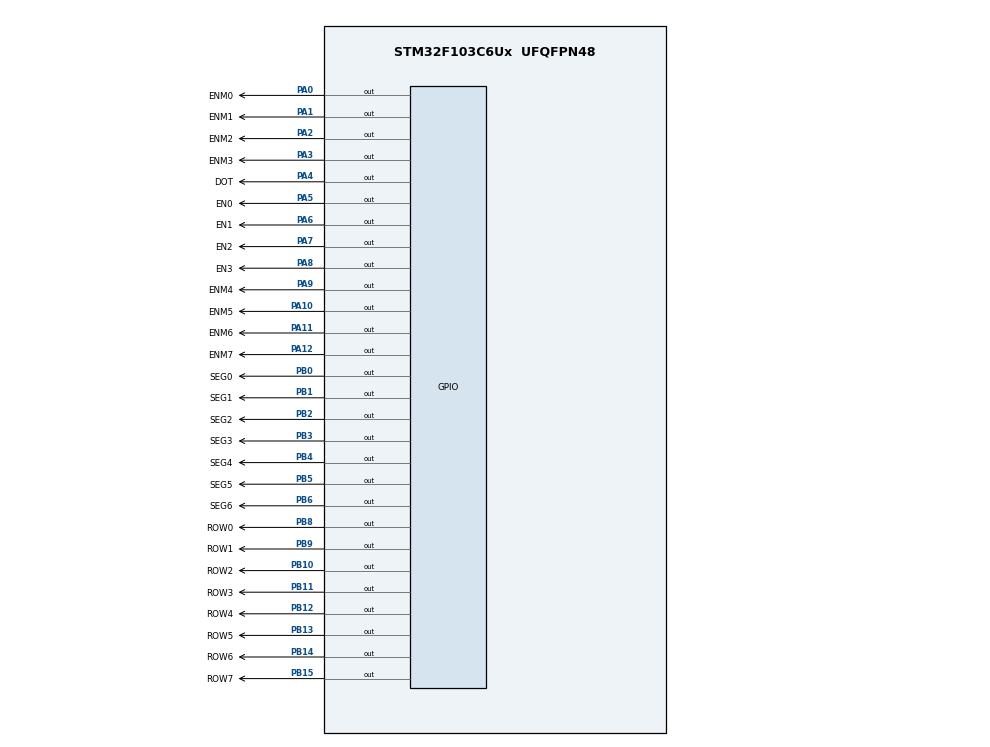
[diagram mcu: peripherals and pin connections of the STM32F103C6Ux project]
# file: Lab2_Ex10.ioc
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Mcu.Family=STM32F1
Mcu.Name=STM32F103C6Ux
Mcu.Package=UFQFPN48
NVIC.PriorityGroup=NVIC_PRIORITYGROUP_4
NVIC.TIM2_IRQn=true\:0\:0\:false\:false\:true\:true\:true
PA0-WKUP.GPIO_Label=ENM0
PA0-WKUP.Signal=GPIO_Output
PA1.GPIO_Label=ENM1
PA1.Signal=GPIO_Output
PA10.GPIO_Label=ENM5
PA10.Signal=GPIO_Output
PA11.GPIO_Label=ENM6
PA11.Signal=GPIO_Output
PA12.GPIO_Label=ENM7
PA12.Signal=GPIO_Output
PA2.GPIO_Label=ENM2
PA2.Signal=GPIO_Output
PA3.GPIO_Label=ENM3
PA3.Signal=GPIO_Output
PA4.GPIO_Label=DOT
PA4.Signal=GPIO_Output
PA5.GPIO_Label=EN0
PA5.Signal=GPIO_Output
PA6.GPIO_Label=EN1
PA6.Signal=GPIO_Output
PA7.GPIO_Label=EN2
PA7.Signal=GPIO_Output
PA8.GPIO_Label=EN3
PA8.Signal=GPIO_Output
PA9.GPIO_Label=ENM4
PA9.Signal=GPIO_Output
PB0.GPIO_Label=SEG0
PB0.Signal=GPIO_Output
PB1.GPIO_Label=SEG1
PB1.Signal=GPIO_Output
PB10.GPIO_Label=ROW2
PB10.Signal=GPIO_Output
PB11.GPIO_Label=ROW3
PB11.Signal=GPIO_Output
PB12.GPIO_Label=ROW4
PB12.Signal=GPIO_Output
PB13.GPIO_Label=ROW5
PB13.Signal=GPIO_Output
PB14.GPIO_Label=ROW6
PB14.Signal=GPIO_Output
PB15.GPIO_Label=ROW7
PB15.Signal=GPIO_Output
PB2.GPIO_Label=SEG2
PB2.Signal=GPIO_Output
PB3.GPIO_Label=SEG3
PB3.Signal=GPIO_Output
PB4.GPIO_Label=SEG4
PB4.Signal=GPIO_Output
PB5.GPIO_Label=SEG5
PB5.Signal=GPIO_Output
PB6.GPIO_Label=SEG6
PB6.Signal=GPIO_Output
PB8.GPIO_Label=ROW0
PB8.Signal=GPIO_Output
PB9.GPIO_Label=ROW1
PB9.Signal=GPIO_Output
ProjectManager.HeapSize=0x200
ProjectManager.StackSize=0x400
ProjectManager.TargetToolchain=STM32CubeIDE
RCC.APB1Freq_Value=8000000
RCC.APB2Freq_Value=8000000
TIM2.Period=9
TIM2.Prescaler=799
VP_SYS_VS_ND.Mode=No_Debug
VP_TIM2_VS_ClockSourceINT.Mode=Internal
board=custom

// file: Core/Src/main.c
/* USER CODE BEGIN Header */
/**
  ******************************************************************************
  * @file           : main.c
  * @brief          : Main program body
  ******************************************************************************
  * @attention
  *
  * <h2><center>&copy; Copyright (c) 2026 STMicroelectronics.
  * All rights reserved.</center></h2>
  *
  * This software component is licensed by ST under BSD 3-Clause license,
  * the "License"; You may not use this file except in compliance with the
  * License. You may obtain a copy of the License at:
  *                        opensource.org/licenses/BSD-3-Clause
  *
  ******************************************************************************
  */
/* USER CODE END Header */
#include "main.h"

TIM_HandleTypeDef htim2;

void SystemClock_Config(void);
static void MX_GPIO_Init(void);
static void MX_TIM2_Init(void);

/* USER CODE BEGIN 0 */

/* =========================================================
 * PHẦN �?IỀU KHIỂN LED 7 �?OẠN
 * ========================================================= */

/* Mã các số 0-9.
 * PB0-PB6 tương ứng với các đoạn A-G.
 * LED 7 đoạn common anode: mức LOW làm đoạn sáng.
 */
const uint16_t digitPattern[10] =
{
  0x3F, /* 0 */
  0x06, /* 1 */
  0x5B, /* 2 */
  0x4F, /* 3 */
  0x66, /* 4 */
  0x6D, /* 5 */
  0x7D, /* 6 */
  0x07, /* 7 */
  0x7F, /* 8 */
  0x6F  /* 9 */
};

void display7SEG(int num)
{
  /* Tắt toàn bộ các đoạn trước. */
  HAL_GPIO_WritePin(GPIOB,
                    SEG0_Pin | SEG1_Pin | SEG2_Pin |
                    SEG3_Pin | SEG4_Pin | SEG5_Pin |
                    SEG6_Pin,
                    GPIO_PIN_SET);

  if (num >= 0 && num <= 9)
  {
    /* Những bit bằng 1 trong digitPattern được kéo xuống LOW. */
    HAL_GPIO_WritePin(GPIOB,
                      digitPattern[num],
                      GPIO_PIN_RESET);
  }
}

/* Dữ liệu và vị trí quét bốn LED 7 đoạn. */
const int MAX_LED = 4;
int index_led = 0;
int led_buffer[4] = {1, 5, 0, 8};

/* Giá trị ban đầu của đồng hồ. */
int hour = 15;
int minute = 8;
int second = 50;

void update7SEG(int index)
{
  /* Tắt cả bốn LED trước khi đổi dữ liệu đoạn. */
  HAL_GPIO_WritePin(EN0_GPIO_Port, EN0_Pin, GPIO_PIN_SET);
  HAL_GPIO_WritePin(EN1_GPIO_Port, EN1_Pin, GPIO_PIN_SET);
  HAL_GPIO_WritePin(EN2_GPIO_Port, EN2_Pin, GPIO_PIN_SET);
  HAL_GPIO_WritePin(EN3_GPIO_Port, EN3_Pin, GPIO_PIN_SET);

  switch (index)
  {
    case 0:
      display7SEG(led_buffer[0]);
      HAL_GPIO_WritePin(EN0_GPIO_Port,
                        EN0_Pin,
                        GPIO_PIN_RESET);
      break;

    case 1:
      display7SEG(led_buffer[1]);
      HAL_GPIO_WritePin(EN1_GPIO_Port,
                        EN1_Pin,
                        GPIO_PIN_RESET);
      break;

    case 2:
      display7SEG(led_buffer[2]);
      HAL_GPIO_WritePin(EN2_GPIO_Port,
                        EN2_Pin,
                        GPIO_PIN_RESET);
      break;

    case 3:
      display7SEG(led_buffer[3]);
      HAL_GPIO_WritePin(EN3_GPIO_Port,
                        EN3_Pin,
                        GPIO_PIN_RESET);
      break;

    default:
      break;
  }
}

void updateClockBuffer(void)
{
  led_buffer[0] = hour / 10;
  led_buffer[1] = hour % 10;

  led_buffer[2] = minute / 10;
  led_buffer[3] = minute % 10;
}

/* =========================================================
 * PHẦN SOFTWARE TIMER
 * TIM2 tao ngat moi 1 ms.
 * ========================================================= */

const int TIMER_CYCLE = 1;

/* Timer 0: cập nhật đồng hồ mỗi 1000 ms. */
volatile int timer0_counter = 0;
volatile int timer0_flag = 0;

/* Timer 1: quét bốn LED 7 đoạn. */
volatile int timer1_counter = 0;
volatile int timer1_flag = 0;

/* Timer 2: quét tám cột LED Matrix. */
volatile int timer2_counter = 0;
volatile int timer2_flag = 0;

/* Timer 3: cap nhat chuyen dong cua chu tren Matrix. */
volatile int timer3_counter = 0;
volatile int timer3_flag = 0;

void setTimer0(int duration)
{
  timer0_counter = duration / TIMER_CYCLE;
  timer0_flag = 0;
}

void setTimer1(int duration)
{
  timer1_counter = duration / TIMER_CYCLE;
  timer1_flag = 0;
}

void setTimer2(int duration)
{
  timer2_counter = duration / TIMER_CYCLE;
  timer2_flag = 0;
}

void setTimer3(int duration)
{
  timer3_counter = duration / TIMER_CYCLE;
  timer3_flag = 0;
}

void timer_run(void)
{
  if (timer0_counter > 0)
  {
    timer0_counter--;

    if (timer0_counter == 0)
    {
      timer0_flag = 1;
    }
  }

  if (timer1_counter > 0)
  {
    timer1_counter--;

    if (timer1_counter == 0)
    {
      timer1_flag = 1;
    }
  }

  if (timer2_counter > 0)
  {
    timer2_counter--;

    if (timer2_counter == 0)
    {
      timer2_flag = 1;
    }
  }

  if (timer3_counter > 0)
  {
    timer3_counter--;

    if (timer3_counter == 0)
    {
      timer3_flag = 1;
    }
  }
}

/* =========================================================
 * PHẦN LED MATRIX 8x8
 * ========================================================= */

const int MAX_LED_MATRIX = 8;
int index_led_matrix = 0;

/* Dữ liệu tám cột để hiển thị chữ A.
 * Mỗi byte biểu diễn trạng thái ROW0-ROW7 của một cột.
 */
uint8_t matrix_buffer[8] =
{
  0x00,
  0x7E,
  0x11,
  0x11,
  0x11,
  0x7E,
  0x00,
  0x00
};

/* Chu A va cac cot trong tao thanh mot vung du lieu 16 cot.
 * Cua so matrix_buffer gom 8 cot se dich dan tren vung nay.
 */
const uint8_t matrix_animation[16] =
{
  0x00,
  0x7E,
  0x11,
  0x11,
  0x11,
  0x7E,
  0x00,
  0x00,
  0x00,
  0x00,
  0x00,
  0x00,
  0x00,
  0x00,
  0x00,
  0x00
};

int matrix_offset = 0;

void updateMatrixAnimation(void)
{
  int i;

  /* Lay 8 cot lien tiep. Tang offset lam chu dich sang trai. */
  for (i = 0; i < MAX_LED_MATRIX; i++)
  {
    matrix_buffer[i] =
        matrix_animation[(matrix_offset + i) % 16];
  }

  matrix_offset++;

  if (matrix_offset >= 16)
  {
    matrix_offset = 0;
  }
}

void updateLEDMatrix(int index)
{
  uint16_t rowData;

  /* Tat toan bo cot: ENMx HIGH lam ULN2803 keo COLx xuong LOW.
   * Voi MATRIX-8X8-RED trong Proteus, cot LOW la trang thai tat.
   */
  HAL_GPIO_WritePin(GPIOA,
                    ENM0_Pin | ENM1_Pin |
                    ENM2_Pin | ENM3_Pin |
                    ENM4_Pin | ENM5_Pin |
                    ENM6_Pin | ENM7_Pin,
                    GPIO_PIN_SET);

  /* Tat tat ca pixel: ROWx HIGH la trang thai tat. */
  HAL_GPIO_WritePin(GPIOB,
                    ROW0_Pin | ROW1_Pin |
                    ROW2_Pin | ROW3_Pin |
                    ROW4_Pin | ROW5_Pin |
                    ROW6_Pin | ROW7_Pin,
                    GPIO_PIN_SET);

  if (index < 0 || index >= MAX_LED_MATRIX)
  {
    return;
  }

  /* matrix_buffer dùng bit 0-7.
   * ROW0-ROW7 nối PB8-PB15 nên dịch trái 8 bit.
   */
  rowData = ((uint16_t)matrix_buffer[index]) << 8;

  /* Bit 1 trong matrix_buffer la pixel sang.
   * Pixel sang khi ROWx duoc keo xuong LOW.
   */
  HAL_GPIO_WritePin(GPIOB, rowData, GPIO_PIN_RESET);

  /* Kích hoạt một cột tương ứng. */
  switch (index)
  {
    case 0:
      HAL_GPIO_WritePin(ENM0_GPIO_Port,
                        ENM0_Pin,
                        GPIO_PIN_RESET);
      break;

    case 1:
      HAL_GPIO_WritePin(ENM1_GPIO_Port,
                        ENM1_Pin,
                        GPIO_PIN_RESET);
      break;

    case 2:
      HAL_GPIO_WritePin(ENM2_GPIO_Port,
                        ENM2_Pin,
                        GPIO_PIN_RESET);
      break;

    case 3:
      HAL_GPIO_WritePin(ENM3_GPIO_Port,
                        ENM3_Pin,
                        GPIO_PIN_RESET);
      break;

    case 4:
      HAL_GPIO_WritePin(ENM4_GPIO_Port,
                        ENM4_Pin,
                        GPIO_PIN_RESET);
      break;

    case 5:
      HAL_GPIO_WritePin(ENM5_GPIO_Port,
                        ENM5_Pin,
                        GPIO_PIN_RESET);
      break;

    case 6:
      HAL_GPIO_WritePin(ENM6_GPIO_Port,
                        ENM6_Pin,
                        GPIO_PIN_RESET);
      break;

    case 7:
      HAL_GPIO_WritePin(ENM7_GPIO_Port,
                        ENM7_Pin,
                        GPIO_PIN_RESET);
      break;

    default:
      break;
  }
}

/* USER CODE END 0 */

int main(void)
{

  /* MCU Configuration--------------------------------------------------------*/

  /* Reset of all peripherals, Initializes the Flash interface and the Systick. */
  HAL_Init();

  /* Configure the system clock */
  SystemClock_Config();

  /* Initialize all configured peripherals */
  MX_GPIO_Init();
  MX_TIM2_Init();
  /* USER CODE BEGIN 2 */

  /* Dua cac LED ve trang thai tat truoc khi bat dau quet. */
  HAL_GPIO_WritePin(GPIOA,
                    EN0_Pin | EN1_Pin | EN2_Pin | EN3_Pin,
                    GPIO_PIN_SET);
  HAL_GPIO_WritePin(GPIOB,
                    SEG0_Pin | SEG1_Pin | SEG2_Pin |
                    SEG3_Pin | SEG4_Pin | SEG5_Pin | SEG6_Pin,
                    GPIO_PIN_SET);

  HAL_GPIO_WritePin(GPIOA,
                    ENM0_Pin | ENM1_Pin | ENM2_Pin | ENM3_Pin |
                    ENM4_Pin | ENM5_Pin | ENM6_Pin | ENM7_Pin,
                    GPIO_PIN_SET);
  HAL_GPIO_WritePin(GPIOB,
                    ROW0_Pin | ROW1_Pin | ROW2_Pin | ROW3_Pin |
                    ROW4_Pin | ROW5_Pin | ROW6_Pin | ROW7_Pin,
                    GPIO_PIN_SET);

  updateClockBuffer();

  setTimer0(1000);
  setTimer1(5);
  setTimer2(2);
  setTimer3(200);

  /* Khởi động ngắt Timer 2. */
  HAL_TIM_Base_Start_IT(&htim2);

  /* USER CODE END 2 */

  /* Infinite loop */
  while (1)
  {

    /* USER CODE BEGIN 3 */

    /* Cap nhat thoi gian va DOT moi 1000 ms. */
	  if (timer0_flag == 1)
	  {
	    setTimer0(1000);

	    HAL_GPIO_TogglePin(DOT_GPIO_Port, DOT_Pin);

	    second++;

	    if (second >= 60)
	    {
	      second = 0;
	      minute++;
	    }

	    if (minute >= 60)
	    {
	      minute = 0;
	      hour++;
	    }

	    if (hour >= 24)
	    {
	      hour = 0;
	    }

	    updateClockBuffer();
	  }

	  /* =====================================================
	   * SOFTWARE TIMER 1: quét bốn LED 7 đoạn
	   * ===================================================== */
	  if (timer1_flag == 1)
	  {
	    setTimer1(5);

	    update7SEG(index_led);

	    index_led++;

	    if (index_led >= MAX_LED)
	    {
	      index_led = 0;
	    }
	  }

	  /* =====================================================
	   * SOFTWARE TIMER 2: quét tám cột LED Matrix
	   * ===================================================== */
	  if (timer2_flag == 1)
	  {
	    setTimer2(2);

	    updateLEDMatrix(index_led_matrix);

	    index_led_matrix++;

	    if (index_led_matrix >= MAX_LED_MATRIX)
	    {
	      index_led_matrix = 0;
	    }
	  }

	  /* Dich chu A sang trai moi 200 ms. */
	  if (timer3_flag == 1)
	  {
	    setTimer3(200);
	    updateMatrixAnimation();
	  }
  }
  /* USER CODE END 3 */
}

void SystemClock_Config(void)
{
  RCC_OscInitTypeDef RCC_OscInitStruct = {0};
  RCC_ClkInitTypeDef RCC_ClkInitStruct = {0};

  /** Initializes the RCC Oscillators according to the specified parameters
  * in the RCC_OscInitTypeDef structure.
  */
  RCC_OscInitStruct.OscillatorType = RCC_OSCILLATORTYPE_HSI;
  RCC_OscInitStruct.HSIState = RCC_HSI_ON;
  RCC_OscInitStruct.HSICalibrationValue = RCC_HSICALIBRATION_DEFAULT;
  RCC_OscInitStruct.PLL.PLLState = RCC_PLL_NONE;
  if (HAL_RCC_OscConfig(&RCC_OscInitStruct) != HAL_OK)
  {
    Error_Handler();
  }
  /** Initializes the CPU, AHB and APB buses clocks
  */
  RCC_ClkInitStruct.ClockType = RCC_CLOCKTYPE_HCLK|RCC_CLOCKTYPE_SYSCLK
                              |RCC_CLOCKTYPE_PCLK1|RCC_CLOCKTYPE_PCLK2;
  RCC_ClkInitStruct.SYSCLKSource = RCC_SYSCLKSOURCE_HSI;
  RCC_ClkInitStruct.AHBCLKDivider = RCC_SYSCLK_DIV1;
  RCC_ClkInitStruct.APB1CLKDivider = RCC_HCLK_DIV1;
  RCC_ClkInitStruct.APB2CLKDivider = RCC_HCLK_DIV1;

  if (HAL_RCC_ClockConfig(&RCC_ClkInitStruct, FLASH_LATENCY_0) != HAL_OK)
  {
    Error_Handler();
  }
}

static void MX_TIM2_Init(void)
{

  TIM_ClockConfigTypeDef sClockSourceConfig = {0};
  TIM_MasterConfigTypeDef sMasterConfig = {0};

  htim2.Instance = TIM2;
  htim2.Init.Prescaler = 799;
  htim2.Init.CounterMode = TIM_COUNTERMODE_UP;
  htim2.Init.Period = 9;
  htim2.Init.ClockDivision = TIM_CLOCKDIVISION_DIV1;
  htim2.Init.AutoReloadPreload = TIM_AUTORELOAD_PRELOAD_DISABLE;
  if (HAL_TIM_Base_Init(&htim2) != HAL_OK)
  {
    Error_Handler();
  }
  sClockSourceConfig.ClockSource = TIM_CLOCKSOURCE_INTERNAL;
  if (HAL_TIM_ConfigClockSource(&htim2, &sClockSourceConfig) != HAL_OK)
  {
    Error_Handler();
  }
  sMasterConfig.MasterOutputTrigger = TIM_TRGO_RESET;
  sMasterConfig.MasterSlaveMode = TIM_MASTERSLAVEMODE_DISABLE;
  if (HAL_TIMEx_MasterConfigSynchronization(&htim2, &sMasterConfig) != HAL_OK)
  {
    Error_Handler();
  }

}

static void MX_GPIO_Init(void)
{
  GPIO_InitTypeDef GPIO_InitStruct = {0};

  /* GPIO Ports Clock Enable */
  __HAL_RCC_GPIOA_CLK_ENABLE();
  __HAL_RCC_GPIOB_CLK_ENABLE();

  /*Configure GPIO pin Output Level */
  HAL_GPIO_WritePin(GPIOA, ENM0_Pin|ENM1_Pin|ENM2_Pin|ENM3_Pin
                          |DOT_Pin|EN0_Pin|EN1_Pin|EN2_Pin
                          |EN3_Pin|ENM4_Pin|ENM5_Pin|ENM6_Pin
                          |ENM7_Pin, GPIO_PIN_RESET);

  /*Configure GPIO pin Output Level */
  HAL_GPIO_WritePin(GPIOB, SEG0_Pin|SEG1_Pin|SEG2_Pin|ROW2_Pin
                          |ROW3_Pin|ROW4_Pin|ROW5_Pin|ROW6_Pin
                          |ROW7_Pin|SEG3_Pin|SEG4_Pin|SEG5_Pin
                          |SEG6_Pin|ROW0_Pin|ROW1_Pin, GPIO_PIN_RESET);

  /*Configure GPIO pins : ENM0_Pin ENM1_Pin ENM2_Pin ENM3_Pin
                           DOT_Pin EN0_Pin EN1_Pin EN2_Pin
                           EN3_Pin ENM4_Pin ENM5_Pin ENM6_Pin
                           ENM7_Pin */
  GPIO_InitStruct.Pin = ENM0_Pin|ENM1_Pin|ENM2_Pin|ENM3_Pin
                          |DOT_Pin|EN0_Pin|EN1_Pin|EN2_Pin
                          |EN3_Pin|ENM4_Pin|ENM5_Pin|ENM6_Pin
                          |ENM7_Pin;
  GPIO_InitStruct.Mode = GPIO_MODE_OUTPUT_PP;
  GPIO_InitStruct.Pull = GPIO_NOPULL;
  GPIO_InitStruct.Speed = GPIO_SPEED_FREQ_LOW;
  HAL_GPIO_Init(GPIOA, &GPIO_InitStruct);

  /*Configure GPIO pins : SEG0_Pin SEG1_Pin SEG2_Pin ROW2_Pin
                           ROW3_Pin ROW4_Pin ROW5_Pin ROW6_Pin
                           ROW7_Pin SEG3_Pin SEG4_Pin SEG5_Pin
                           SEG6_Pin ROW0_Pin ROW1_Pin */
  GPIO_InitStruct.Pin = SEG0_Pin|SEG1_Pin|SEG2_Pin|ROW2_Pin
                          |ROW3_Pin|ROW4_Pin|ROW5_Pin|ROW6_Pin
                          |ROW7_Pin|SEG3_Pin|SEG4_Pin|SEG5_Pin
                          |SEG6_Pin|ROW0_Pin|ROW1_Pin;
  GPIO_InitStruct.Mode = GPIO_MODE_OUTPUT_PP;
  GPIO_InitStruct.Pull = GPIO_NOPULL;
  GPIO_InitStruct.Speed = GPIO_SPEED_FREQ_LOW;
  HAL_GPIO_Init(GPIOB, &GPIO_InitStruct);

}

/* USER CODE BEGIN 4 */

void HAL_TIM_PeriodElapsedCallback(TIM_HandleTypeDef *htim)
{
  if (htim->Instance == TIM2)
  {
    timer_run();
  }
}

/* USER CODE END 4 */

void Error_Handler(void)
{
  __disable_irq();
  while (1)
  {
  }
}

/************************ (C) COPYRIGHT STMicroelectronics *****END OF FILE****/
